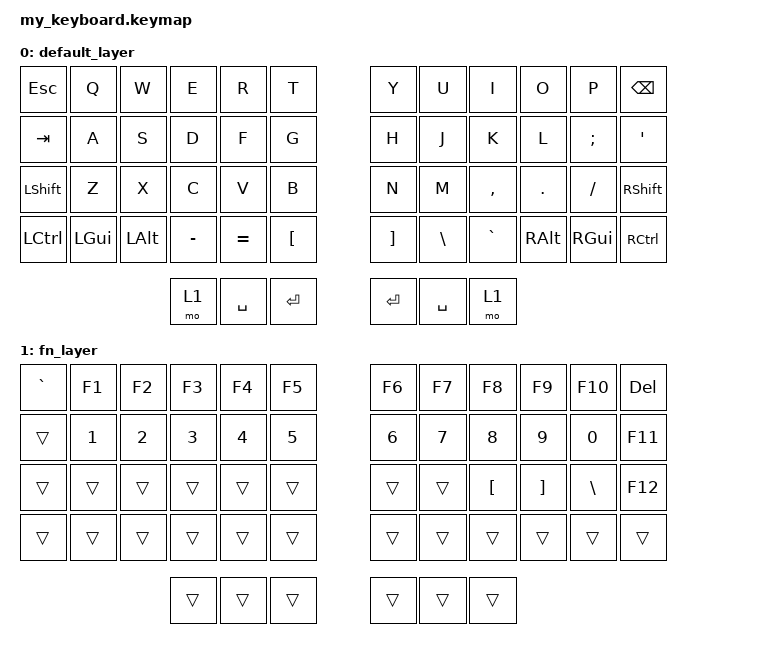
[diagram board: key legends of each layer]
#include <behaviors.dtsi>
#include <dt-bindings/zmk/keys.h>

/ {
    keymap {
        compatible = "zmk,keymap";

        default_layer {
            bindings = <
            // Row 0: Number/symbol row
            &kp ESC   &kp Q  &kp W  &kp E  &kp R  &kp T      &kp Y  &kp U  &kp I      &kp O    &kp P     &kp BSPC
            // Row 1: Home row
            &kp TAB   &kp A  &kp S  &kp D  &kp F  &kp G      &kp H  &kp J  &kp K      &kp L    &kp SEMI  &kp SQT
            // Row 2: Bottom alpha row
            &kp LSHFT &kp Z  &kp X  &kp C  &kp V  &kp B      &kp N  &kp M  &kp COMMA  &kp DOT  &kp FSLH  &kp RSHFT
            // Row 3: Modifier row
            &kp LCTRL &kp LGUI &kp LALT &kp MINUS &kp EQUAL &kp LBKT    &kp RBKT &kp BSLH &kp GRAVE &kp RALT &kp RGUI &kp RCTRL
            // Row 4 (Thumb Cluster: 3 keys per side)
                                &mo 1 &kp SPACE &kp RET    &kp RET &kp SPACE &mo 1
            >;
        };

        fn_layer {
            bindings = <
            // Row 0
            &kp GRAVE &kp F1  &kp F2  &kp F3  &kp F4  &kp F5     &kp F6  &kp F7  &kp F8   &kp F9   &kp F10   &kp DEL
            // Row 1
            &trans    &kp N1  &kp N2  &kp N3  &kp N4  &kp N5     &kp N6  &kp N7  &kp N8   &kp N9   &kp N0    &kp F11
            // Row 2
            &trans    &trans  &trans  &trans  &trans  &trans     &trans  &trans  &kp LBKT &kp RBKT &kp BSLH  &kp F12
            // Row 3
            &trans    &trans  &trans  &trans  &trans  &trans     &trans  &trans  &trans   &trans   &trans    &trans
            // Row 4
                              &trans  &trans  &trans             &trans  &trans  &trans
            >;
        };
    };
};
